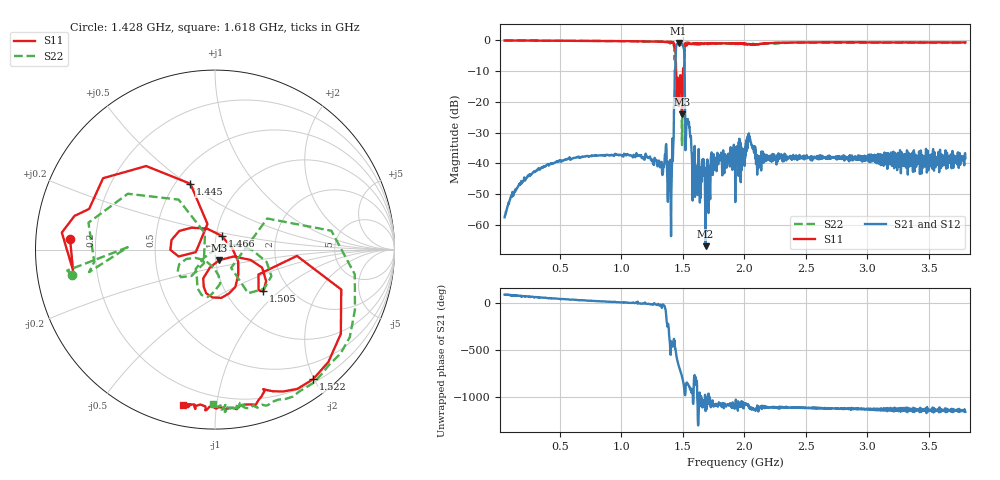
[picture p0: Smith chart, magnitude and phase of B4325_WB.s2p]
! Matrix data file written by TouchstoneData, EPCOS AG
! FILENAME: "B4325_WB.s2p"
! COMMENT: "(B4325_X10Y11_WB.s2p) Epcos AG 2/1/2013 3:53"
! INFO: nport=2, nfreq=1601
! DATE: "Wed Mar 27 10:36:41 2013"
! USER: "Rosemary Xue"
! port | pin | signal
!  1  |  1  |  IN
!  2  |  4  |  OUT
# MHZ S RI R 50
! freq  reS11 imS11  reS21 imS21  reS12 imS12  reS22 imS22
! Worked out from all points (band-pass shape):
!   1601 points, 50 MHz to 3.8 GHz, reference 50 ohm
!   highest |S21| = -0.83 dB at 1.466 GHz (marker M1); lowest = -67.0 dB at 1.686 GHz (marker M2)
!   |S21| within 3 dB of the highest: 1.443 GHz to 1.511 GHz (68.11 MHz wide, 4.61 % of centre)
!   lowest |S11| = -24.0 dB at 1.494 GHz (marker M3), VSWR 1.13, Z = 52 - j6.14 ohm
!   |S11| at or under -10 dB: 1.445 GHz to 1.502 GHz (57.3 MHz wide, 3.89 % of centre); 1.508461 GHz to 1.510748 GHz (2.288 MHz wide, 0.152 % of centre)
!   |S22| runs from -34.1 to 0.0 dB; largest |S21 - S12| = 0.0018
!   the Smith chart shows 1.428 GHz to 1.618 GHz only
!   S11 on the Smith chart (normalised r, x): 1.428 GHz: 0.11, +0.04; 1.445 GHz: 0.59, +0.51; 1.466 GHz: 1.07, +0.16; 1.505 GHz: 1.49, -0.79; 1.522 GHz: 0.25, -1.99; 1.618 GHz: 0.10, -0.81
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50  0.9935 -0.1025  0.000144 0.00132  0.000329 0.0013  0.9954 -0.083
246.875  0.8793 -0.4667  0.00286 0.00579  0.00287 0.00576  0.9172 -0.3899
675.7812  0.3384 -0.9238  0.0116 0.0052  0.0116 0.00522  0.5057 -0.8447
1301.562  -0.4884 -0.8297  0.00978 -0.00353  0.00981 -0.00353  -0.291 -0.9107
1392.969  -0.7464 -0.5884  0.0044 -0.00475  0.00441 -0.00476  -0.576 -0.7204
1411.719  -0.8312 -0.4017  0.00362 -0.00696  0.00364 -0.00695  -0.7258 -0.6074
1428.125  -0.8075 0.0584  0.0621 -0.0298  0.0623 -0.03  -0.799 -0.1393
1444.531  -0.1373 0.3669  -0.7224 -0.1388  -0.7234 -0.1386  -0.2028 0.2785
1465.625  0.0382 0.0757  0.528 0.7399  0.5278 0.7395  -0.0547 -0.0606
1479.688  0.0357 -0.2688  0.8625 -0.08  0.8631 -0.08  -0.041 -0.2637
1493.75  0.0232 -0.0588  0.3626 -0.8117  0.3632 -0.8112  0.0173 0.00971
1505.469  0.2698 -0.2326  -0.5474 -0.5527  -0.5475 -0.5537  0.273 -0.2186
1521.875  0.5463 -0.7224  -0.00817 0.0142  -0.0082 0.0142  0.7512 -0.4874
1547.656  0.1399 -0.8707  -0.0443 -0.0148  -0.0443 -0.0149  0.2977 -0.8654
1617.969  -0.179 -0.868  0.00221 0.00417  0.00222 0.00419  -0.0114 -0.859
1685.938  -0.277 -0.8551  0.000132 -0.000429  0.000105 -0.000409  -0.1112 -0.8729
1925  -0.454 -0.7609  0.011 -0.00471  0.011 -0.00469  -0.2868 -0.8437
2042.188  -0.4921 -0.7126  0.0215 -0.0177  0.0216 -0.0177  -0.3366 -0.8186
2119.531  -0.4815 -0.7276  0.00909 -0.00584  0.00913 -0.0058  -0.3476 -0.7938
2550.781  -0.6658 -0.6505  0.00943 -0.00899  0.00944 -0.009  -0.5418 -0.7473
3176.562  -0.7925 -0.4837  0.00411 -0.00885  0.00409 -0.00884  -0.7109 -0.5876
3800  -0.8702 -0.3347  0.00186 -0.012  0.00186 -0.0121  -0.8048 -0.4345
